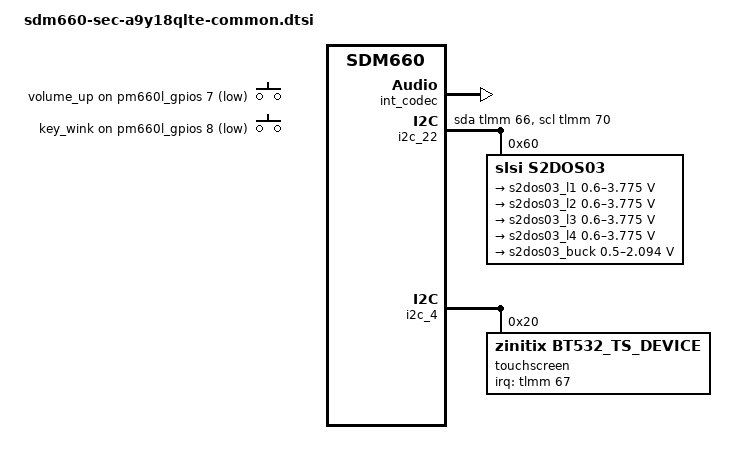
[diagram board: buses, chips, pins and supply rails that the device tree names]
// SPDX-License-Identifier: GPL-2.0-only
/*
 * Parts shared by every a9y18qlte board revision.
 */

#include <dt-bindings/input/input.h>

&int_codec {
	qcom,model = "sdm660-snd-card-mtp";
	status = "okay";
};

/* Samsung changes to the qcom sdm660 files, from the 4.4 kernel */

&soc {
	qcom,msm-ssc-sensors {
		status = "ok";
		qcom,firmware-name = "adsp";
	};
};

&{/soc/qcom,icnss@18800000} {
	qcom,vdd-cx-mx-config = <800000 800000>;
};

&qcom_seecom {
	qcom,commonlib64-loaded-by-uefi;
};

&ufs1 {
	/delete-property/ spm-level;
};

/* SD card: no pull on CMD/CD, 8 mA on DATA */
&sdc1_cmd_on {
	config {
		/delete-property/ bias-pull-up;
		bias-disable;
	};
};

&sdc1_cmd_off {
	config {
		/delete-property/ bias-pull-up;
		bias-disable;
	};
};

&sdc2_data_on {
	config {
		drive-strength = <8>;
	};
};

&sdc2_cd_on {
	config {
		/delete-property/ bias-pull-up;
		bias-disable;
	};
};

&soc {
	/* S2DOS03 display PMIC on a GPIO I2C bus */
	i2c_22: i2c@22 {
		compatible = "i2c-gpio";
		gpios = <&tlmm 66 0	/* SDA */
			 &tlmm 70 0>;	/* SCL */
		i2c-gpio,delay-us = <2>;
		#address-cells = <1>;
		#size-cells = <0>;
		pinctrl-names = "default";
		pinctrl-0 = <&i2c_22_pinctrl>;

		s2dos03@60 {
			compatible = "slsi,s2dos03";
			reg = <0x60>;
			buck-ramp-up = <0>;		/* 6.25mV/us */
			buck-fpwm = <0>;		/* disabled */
			uvlo-fall-threshold = <0>;	/* 2.30V */

			regulators {
				s2dos03_l1: s2dos03-ldo1 {
					regulator-name = "s2dos03-ldo1";
					regulator-min-microvolt = <600000>;
					regulator-max-microvolt = <3775000>;
					active-discharge-enable = <1>;
				};

				s2dos03_l2: s2dos03-ldo2 {
					regulator-name = "s2dos03-ldo2";
					regulator-min-microvolt = <600000>;
					regulator-max-microvolt = <3775000>;
					active-discharge-enable = <1>;
				};

				s2dos03_l3: s2dos03-ldo3 {
					regulator-name = "s2dos03-ldo3";
					regulator-min-microvolt = <600000>;
					regulator-max-microvolt = <3775000>;
					regulator-boot-on;
					active-discharge-enable = <1>;
				};

				s2dos03_l4: s2dos03-ldo4 {
					regulator-name = "s2dos03-ldo4";
					regulator-min-microvolt = <600000>;
					regulator-max-microvolt = <3775000>;
					active-discharge-enable = <1>;
				};

				s2dos03_buck: s2dos03-buck {
					regulator-name = "s2dos03-buck";
					regulator-min-microvolt = <500000>;
					regulator-max-microvolt = <2093750>;
					regulator-boot-on;
					active-discharge-enable = <1>;
				};
			};
		};
	};
};

&i2c_4 {
	status = "okay";

	touchscreen@20 {
		compatible = "zinitix,bt532_ts_device";
		reg = <0x20>;
		pinctrl-names = "on_state", "off_state";
		pinctrl-0 = <&tsp_int_active>;
		pinctrl-1 = <&tsp_int_suspend>;
		zinitix,irq_gpio = <&tlmm 67 0>;
		zinitix,gpio_ldo_en;
		zinitix,regulator_avdd = "s2dos03-ldo3";
		zinitix,x_resolution = <1080>;
		zinitix,y_resolution = <2220>;
		zinitix,page_size = <128>;
		zinitix,chip_name = "ZT7548";
		zinitix,firmware_name = "tsp_zinitix/zt7548_a9y18.fw";
		zinitix,spay = "true";
		zinitix,aod = "true";
		zinitix,tclm_level = <0x02>;
		zinitix,afe_base = <0x8913>;
		zinitix,mis_cal_check = "true";
		zinitix,factory_item_version = <4>;
		clock-names = "iface_clk", "core_clk";
		clocks = <&clock_gcc GCC_BLSP1_AHB_CLK>,
			 <&clock_gcc GCC_BLSP1_QUP4_I2C_APPS_CLK>;
	};
};

&soc {
	/* Volume up and Bixby; volume down and power are PMIC PON keys */
	/delete-node/ gpio_keys;
	gpio_keys {
		compatible = "gpio-keys";
		input-name = "gpio-keys";
		pinctrl-names = "default";
		pinctrl-0 = <&key_vol_up_default &key_wink_default>;

		vol_up {
			label = "volume_up";
			gpios = <&pm660l_gpios 7 0x1>;
			linux,input-type = <1>;
			linux,code = <KEY_VOLUMEUP>;
			debounce-interval = <15>;
		};

		key_wink {
			label = "key_wink";
			gpios = <&pm660l_gpios 8 0x1>;
			linux,input-type = <1>;
			linux,code = <KEY_WINK>;
			wakeup-source;
			debounce-interval = <15>;
		};
	};
};

/* Charging and the fuel gauge are done by the SM5705, not the PM660 */
&pm660_pdphy {
	status = "disabled";
};

&pm660_charger {
	status = "disabled";
};

&pm660_fg {
	status = "disabled";
};

/* The PM660 BCL reads the PM660 fuel gauge, which is off */
&bcl_sensor {
	status = "disabled";
};

/*
 * The ROM ramdisk fstab mounts system and vendor (first_stage_mount).
 * Android init prefers a DT fstab, and the qcom one points vendor at
 * eMMC with A/B and AVB flags, so remove it.
 */
&firmware {
	android {
		/delete-node/ vbmeta;
		/delete-node/ fstab;
	};
};

/*
 * MTP board parts that the A9 (2018) does not have. Same as the
 * Samsung changes on 4.4: no NQ NFC on i2c_6, no SMB1351 on i2c_2.
 * The MTP camera sensors stay off until the Samsung camera DT is ported.
 */
&i2c_6 {
	status = "disabled";
};

&i2c_2 {
	/delete-node/ smb1351-charger@1d;
};

&cci {
	status = "disabled";
};
